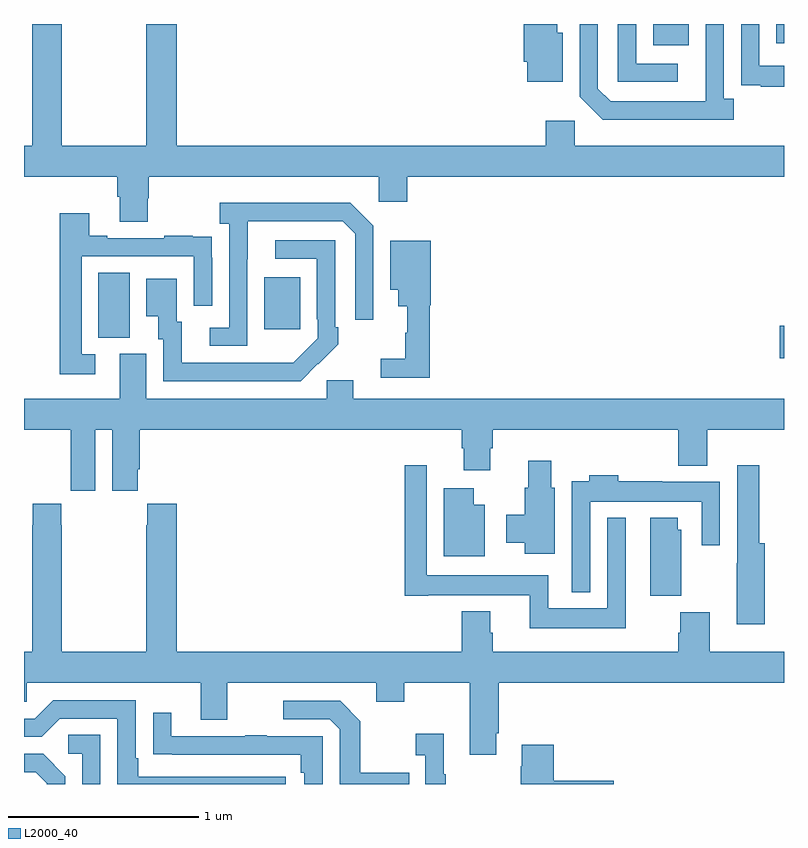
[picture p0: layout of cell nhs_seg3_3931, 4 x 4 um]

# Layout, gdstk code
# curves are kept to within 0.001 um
import gdstk
lib = gdstk.Library(unit=1e-6, precision=1e-09)
def R(c, l, rs):  # rectangles x0, y0, x1, y1
    for r in rs: c.add(gdstk.rectangle(r[:2], r[2:], *l))
def P(c, l, *ps):  # polygons
    for p in ps: c.add(gdstk.Polygon(p, *l))
L2000_40 = (2000, 40)

nhs_seg3_3931 = lib.new_cell('nhs_seg3_3931')
R(nhs_seg3_3931, L2000_40, [(318.978,686.642,319,686.813), (315.392,686.749,315.556,687.092), (316.265,686.793,316.453,687.067), (318.311,688.289,318.499,688.4), (318.959,688.299,319,688.4)])
P(nhs_seg3_3931, L2000_40, [(318.442,688.191),(318.222,688.191),(318.222,688.4),(318.126,688.4),(318.126,688.095),(318.442,688.095)],
  [(319,688.179),(318.87,688.179),(318.87,688.4),(318.774,688.4),(318.774,688.186),(318.775,688.186),(318.775,688.077),(318.877,688.077),(318.877,688.071),(319,688.071)],
  [(318.736,688.006),(318.684,688.006),(318.684,688.4),(318.588,688.4),(318.587,687.993),(318.087,687.993),(318.021,688.059),(318.021,688.4),(317.925,688.4),(317.925,688.017),(318.046,687.896),(318.736,687.896)],
  [(315.651,687.483),(315.656,687.483),(315.656,687.596),(316.866,687.596),(316.866,687.465),(317.018,687.465),(317.018,687.596),(319,687.596),(319,687.76),(317.898,687.76),(317.898,687.892),(317.747,687.892),(317.747,687.76),(315.803,687.76),(315.803,688.4),(315.643,688.4),(315.643,687.76),(315.198,687.76),(315.198,688.4),(315.043,688.4),(315.043,687.76),(315,687.76),(315,687.596),(315.491,687.596),(315.491,687.49),(315.503,687.49),(315.503,687.358),(315.651,687.358)],
  [(317.836,688.354),(317.806,688.354),(317.806,688.4),(317.629,688.4),(317.629,688.201),(317.648,688.201),(317.648,688.097),(317.836,688.097)],
  [(316.176,687.163),(316.177,687.363),(316.677,687.363),(316.743,687.297),(316.743,686.844),(316.839,686.844),(316.839,687.339),(316.718,687.46),(316.029,687.46),(316.029,687.35),(316.08,687.35),(316.08,686.802),(315.978,686.802),(315.978,686.706),(316.176,686.706)],
  [(315.376,686.661),(315.303,686.661),(315.303,687.177),(315.894,687.177),(315.894,686.916),(315.99,686.916),(315.99,687.17),(315.989,687.17),(315.989,687.279),(315.887,687.279),(315.887,687.286),(315.739,687.286),(315.739,687.273),(315.439,687.273),(315.439,687.286),(315.343,687.286),(315.343,687.403),(315.187,687.403),(315.187,686.556),(315.376,686.556)],
  [(316.547,686.611),(316.548,686.61),(316.653,686.715),(316.653,686.803),(316.638,686.803),(316.638,687.261),(316.323,687.261),(316.323,687.165),(316.542,687.165),(316.542,686.845),(316.545,686.845),(316.545,686.745),(316.417,686.617),(315.829,686.616),(315.829,686.832),(315.805,686.832),(315.805,687.058),(315.644,687.058),(315.644,686.861),(315.707,686.861),(315.707,686.742),(315.732,686.742),(315.732,686.52),(316.456,686.52)],
  [(317.135,686.919),(317.141,686.919),(317.141,687.259),(316.928,687.259),(316.928,687.002),(316.97,687.002),(316.97,686.915),(317.018,686.915),(317.018,686.775),(317.007,686.775),(317.007,686.639),(316.878,686.639),(316.878,686.538),(317.135,686.538)],
  [(315.376,686.264),(315.464,686.264),(315.464,685.944),(315.598,685.944),(315.598,686.056),(315.608,686.056),(315.608,686.264),(317.303,686.264),(317.303,686.166),(317.315,686.166),(317.315,686.052),(317.455,686.052),(317.455,686.166),(317.468,686.166),(317.468,686.264),(318.443,686.264),(318.443,686.075),(318.595,686.075),(318.595,686.264),(319,686.264),(319,686.428),(316.732,686.428),(316.732,686.526),(316.593,686.526),(316.593,686.428),(315.643,686.428),(315.643,686.664),(315.503,686.664),(315.503,686.428),(315,686.428),(315,686.264),(315.245,686.264),(315.245,686.056),(315.246,686.056),(315.246,685.944),(315.376,685.944)],
  [(317.794,685.959),(317.776,685.959),(317.776,686.101),(317.654,686.101),(317.654,685.959),(317.636,685.959),(317.636,685.818),(317.537,685.818),(317.537,685.67),(317.636,685.67),(317.636,685.611),(317.794,685.611)],
  [(318.899,685.666),(318.869,685.666),(318.869,686.077),(318.753,686.077),(318.753,685.562),(318.752,685.562),(318.752,685.242),(318.899,685.242)],
  [(318.166,685.801),(318.069,685.801),(318.069,685.324),(317.76,685.324),(317.76,685.498),(317.121,685.498),(317.121,686.077),(317.005,686.077),(317.005,685.392),(317.128,685.392),(317.128,685.394),(317.663,685.394),(317.663,685.22),(318.166,685.22)],
  [(317.979,685.886),(318.567,685.886),(318.567,685.656),(318.663,685.656),(318.663,685.99),(318.359,685.99),(318.359,685.993),(318.128,685.993),(318.128,686.026),(317.975,686.026),(317.975,685.993),(317.883,685.993),(317.883,685.409),(317.979,685.409)],
  [(317.425,685.87),(317.368,685.87),(317.368,685.957),(317.21,685.957),(317.21,685.598),(317.425,685.598)],
  [(317.485,684.667),(317.498,684.667),(317.498,684.932),(319,684.932),(319,685.096),(318.608,685.096),(318.608,685.305),(318.455,685.305),(318.455,685.196),(318.443,685.196),(318.443,685.096),(317.468,685.096),(317.468,685.197),(317.455,685.197),(317.455,685.309),(317.303,685.309),(317.303,685.096),(315.803,685.096),(315.803,685.876),(315.649,685.876),(315.649,685.763),(315.643,685.763),(315.643,685.096),(315.198,685.096),(315.198,685.763),(315.195,685.763),(315.195,685.876),(315.045,685.876),(315.045,685.763),(315.043,685.763),(315.043,685.096),(315,685.096),(315,684.834),(315.015,684.834),(315.015,684.932),(315.929,684.932),(315.929,684.738),(316.069,684.738),(316.069,684.932),(316.853,684.932),(316.853,684.833),(317.001,684.833),(317.001,684.932),(317.345,684.932),(317.345,684.555),(317.485,684.555)],
  [(318.46,685.737),(318.442,685.737),(318.442,685.801),(318.296,685.801),(318.296,685.39),(318.46,685.39)],
  [(316.378,684.438),(315.601,684.438),(315.601,684.535),(315.588,684.535),(315.588,684.84),(315.153,684.84),(315.057,684.744),(315,684.744),(315,684.648),(315.093,684.648),(315.189,684.744),(315.492,684.744),(315.492,684.4),(316.378,684.4)],
  [(317.027,684.459),(316.771,684.459),(316.771,684.731),(316.665,684.837),(316.365,684.837),(316.365,684.741),(316.608,684.741),(316.662,684.687),(316.662,684.4),(317.027,684.4)],
  [(316.572,684.651),(316.277,684.651),(316.277,684.656),(316.165,684.656),(316.165,684.651),(315.775,684.651),(315.775,684.775),(315.679,684.775),(315.679,684.556),(315.781,684.556),(315.781,684.555),(316.456,684.555),(316.456,684.458),(316.476,684.458),(316.476,684.4),(316.572,684.4)],
  [(317.221,684.451),(317.209,684.451),(317.209,684.664),(317.061,684.664),(317.061,684.551),(317.112,684.551),(317.112,684.4),(317.221,684.4)],
  [(315.402,684.659),(315.234,684.659),(315.234,684.558),(315.306,684.558),(315.306,684.4),(315.402,684.4)],
  [(318.104,684.416),(317.789,684.416),(317.789,684.607),(317.621,684.607),(317.621,684.494),(317.614,684.494),(317.614,684.4),(318.104,684.4)],
  [(315.216,684.442),(315.1,684.558),(315,684.558),(315,684.462),(315.062,684.462),(315.119,684.405),(315.119,684.4),(315.216,684.4)])

lib.write_gds('nhs_seg3_3931.gds')
